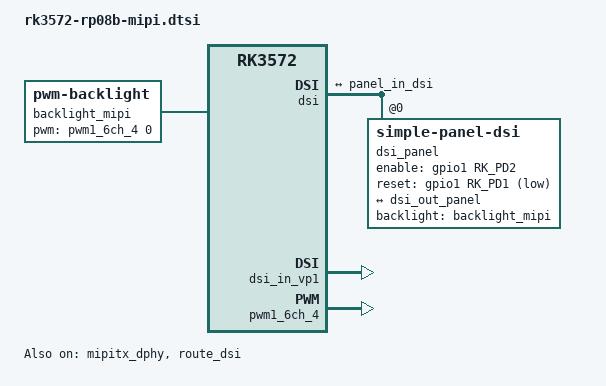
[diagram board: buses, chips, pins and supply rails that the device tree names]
// SPDX-License-Identifier: (GPL-2.0+ OR MIT)
/*
 * Copyright (c) 2025 Rockchip Electronics Co., Ltd.
 *
 * Hugsun RP08B V10 - 8 inch 1200x1920 MIPI-DSI LCD
 *
 * HW connection (RK3572, single dsi / mipitx_dphy):
 *   - backlight PWM   : PWM1 CH4 M1  -> pwm1_6ch_4 + pwm1m1_ch4_pins (GPIO1_D3)
 *   - LCD power enable: GPIO1_D2 (active high)
 *   - LCD reset       : GPIO1_D1. NOTE: must be GPIO_ACTIVE_LOW on this 6.12
 *                       kernel: panel-simple here drives reset 1 -> delay ->
 *                       0 (opposite of the old kernel used on RK3588, which
 *                       drove 0 -> delay -> 1), so ACTIVE_LOW reproduces the
 *                       same physical low-pulse then high waveform as the
 *                       working RK3588 config (which used ACTIVE_HIGH there).
 *   - HDMI stays on VP0, DSI uses VP1
 */

#include <dt-bindings/display/drm_mipi_dsi.h>

/ {

	backlight_mipi: backlight_mipi {
		compatible = "pwm-backlight";
		pwms = <&pwm1_6ch_4 0 25000 0>;
		brightness-levels = <
			  0  20  20  21  21  22  22  23
			 23  24  24  25  25  26  26  27
			 27  28  28  29  29  30  30  31
			 31  32  32  33  33  34  34  35
			 35  36  36  37  37  38  38  39
			 40  41  42  43  44  45  46  47
			 48  49  50  51  52  53  54  55
			 56  57  58  59  60  61  62  63
			 64  65  66  67  68  69  70  71
			 72  73  74  75  76  77  78  79
			 80  81  82  83  84  85  86  87
			 88  89  90  91  92  93  94  95
			 96  97  98  99 100 101 102 103
			104 105 106 107 108 109 110 111
			112 113 114 115 116 117 118 119
			120 121 122 123 124 125 126 127
			128 129 130 131 132 133 134 135
			136 137 138 139 140 141 142 143
			144 145 146 147 148 149 150 151
			152 153 154 155 156 157 158 159
			160 161 162 163 164 165 166 167
			168 169 170 171 172 173 174 175
			176 177 178 179 180 181 182 183
			184 185 186 187 188 189 190 191
			192 193 194 195 196 197 198 199
			200 201 202 203 204 205 206 207
			208 209 210 211 212 213 214 215
			216 217 218 219 220 221 222 223
			224 225 226 227 228 229 230 231
			232 233 234 235 236 237 238 239
			240 241 242 243 244 245 246 247
			248 249 250 251 252 253 254 255
		>;
		default-brightness-level = <100>;
	};
};

&dsi {
	status = "okay";
	//rockchip,lane-rate = <1000>;

	dsi_panel: panel@0 {
		status = "okay";
		compatible = "simple-panel-dsi";
		reg = <0>;
		backlight = <&backlight_mipi>;
		/* 3V3 LCD power rail is always-on on RP08B, GPIO1_D2 is panel power
		 * enable; keep regulator out of the panel and switch via enable-gpios.
		 */
		//power-supply = <&vcc3v3_mipi_lcd>;
		enable-gpios = <&gpio1 RK_PD2 GPIO_ACTIVE_HIGH>;
		reset-gpios =  <&gpio1 RK_PD1 GPIO_ACTIVE_LOW>;
		pinctrl-names = "default";
		pinctrl-0 = <&lcd0_enable_gpio &lcd0_rst_gpio>;

		reset-delay-ms = <200>;
		enable-delay-ms = <50>;
		init-delay-ms = <300>;
		prepare-delay-ms = <150>;
		unprepare-delay-ms = <50>;
		disable-delay-ms = <100>;

		dsi,flags = <(MIPI_DSI_MODE_VIDEO | MIPI_DSI_MODE_VIDEO_BURST |
			      MIPI_DSI_MODE_LPM)>;
		dsi,format = <MIPI_DSI_FMT_RGB888>;
		dsi,lanes  = <4>;

		panel-init-sequence = [
			05 78 01 11
			05 78 01 29
		];

		panel-exit-sequence = [
			05 00 01 28
			05 00 01 10
		];

		display-timings {
			native-mode = <&timing0>;
			timing0: timing0 {
				clock-frequency = <157500000>;
				hactive = <1200>;
				vactive = <1920>;
				hback-porch = <60>;
				hfront-porch = <80>;
				hsync-len = <4>;
				vback-porch = <14>;
				vfront-porch = <16>;
				vsync-len = <4>;
				hsync-active = <1>;
				vsync-active = <1>;
				de-active = <0>;
				pixelclk-active = <0>;
			};
		};

		ports {
			#address-cells = <1>;
			#size-cells = <0>;

			port@0 {
				reg = <0>;
				panel_in_dsi: endpoint {
					remote-endpoint = <&dsi_out_panel>;
				};
			};
		};
	};

	ports {
		#address-cells = <1>;
		#size-cells = <0>;

		port@1 {
			reg = <1>;
			dsi_out_panel: endpoint {
				remote-endpoint = <&panel_in_dsi>;
			};
		};
	};
};

&dsi_in_vp0 {
	status = "disabled";
};

&dsi_in_vp1 {
	status = "okay";
};

&dsi_in_vopl {
	status = "disabled";
};

&mipitx_dphy {
	status = "okay";
};

&route_dsi {
	status = "okay";
	logo,uboot = "logo.bmp";
	logo,kernel = "logo_kernel.bmp";
	connect = <&vp1_out_dsi>;
};

&pwm1_6ch_4 {
	pinctrl-0 = <&pwm1m1_ch4_pins>;
	status = "okay";
};

&pinctrl {
	lcd0 {
		lcd0_rst_gpio: lcd0-rst-gpio {
			rockchip,pins = <1 RK_PD1 RK_FUNC_GPIO &pcfg_pull_none>;
		};

		lcd0_enable_gpio: lcd0-enable-gpio {
			rockchip,pins = <1 RK_PD2 RK_FUNC_GPIO &pcfg_pull_none>;
		};
	};
};
